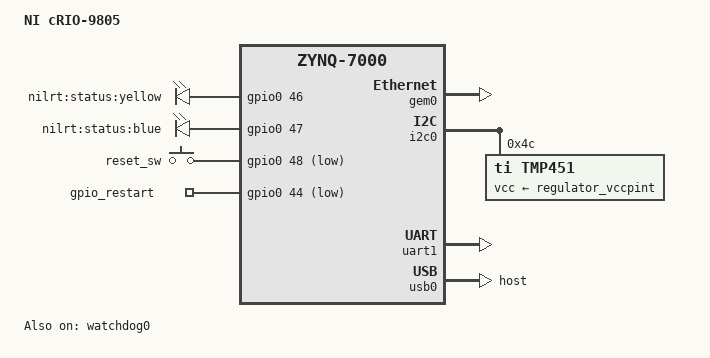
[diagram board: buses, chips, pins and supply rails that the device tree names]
// SPDX-License-Identifier: GPL-2.0 OR MIT
/*
 * Copyright (C) 2016 - 2023 National Instruments
 */

/dts-v1/;
#include <dt-bindings/input/input.h>
#include <dt-bindings/gpio/gpio.h>
#include "zynq-niexpio-4port.dtsi"

/ {
	model = "NI cRIO-9805";
	compatible = "ni,coralreef", "xlnx,zynq-7000";

	leds {
		compatible = "gpio-leds";

		/* LED_STATUSy on GPIO46 */
		led-0 {
			label = "nilrt:status:yellow";
			gpios = <&gpio0 46 GPIO_ACTIVE_HIGH>;
			default-state = "on";
		};

		/* LED_POWERb on GPIO47 */
		led-1 {
			label = "nilrt:status:blue";
			gpios = <&gpio0 47 GPIO_ACTIVE_HIGH>;
			default-state = "off";
		};
	};

	gpio_keys {
		compatible = "gpio-keys";

		/* Reset switch is on GPIO48 */
		button-0 {
			label = "reset_sw";
			gpios = <&gpio0 48 GPIO_ACTIVE_LOW>;
			linux,code = <KEY_RESTART>;
		};
	};

	gpio_restart {
		compatible = "gpio-restart";

		/* ~PS_FORCE_RESET is on GPIO44 */
		gpios = <&gpio0 44 GPIO_ACTIVE_LOW>;
		priority = <200>;
	};
};

&gem0 {
	status = "okay";
};

&i2c0 {
	status = "okay";

	tmp451@4c {
		compatible = "ti,tmp451";
		reg = <0x4c>;
		vcc-supply = <&regulator_vccpint>;
	};
};

&uart1 {
	status = "okay";
};

&usb0 {
	status = "okay";
	dr_mode = "host";
};

&watchdog0 {
	status = "okay";
	reset-on-timeout;
};
